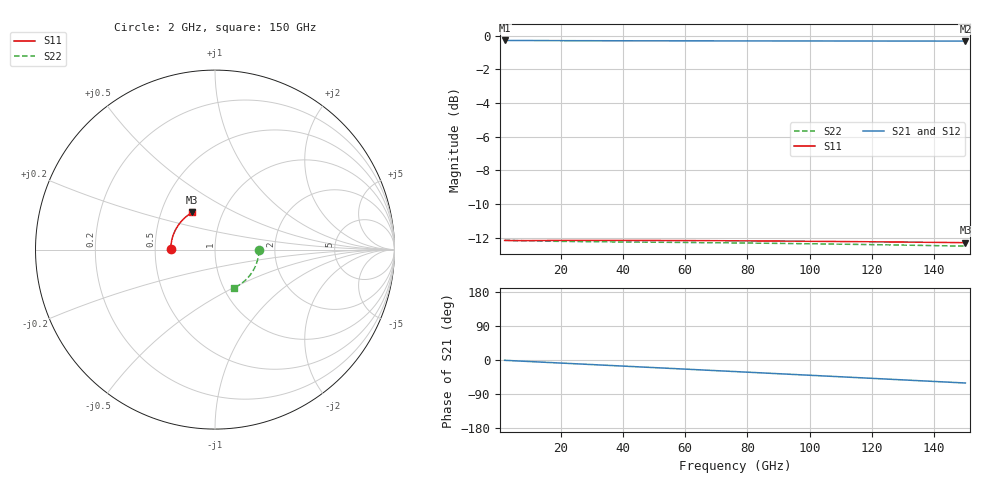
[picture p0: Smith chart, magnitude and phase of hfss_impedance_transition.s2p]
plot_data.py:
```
import numpy as np
import matplotlib.pyplot as plt
import skrf as rf

def S2T(S):
    T = S.copy()
    T[0,0] = -(S[0,0]*S[1,1]-S[0,1]*S[1,0])
    T[0,1] = S[0,0]
    T[1,0] = -S[1,1]
    T[1,1] = 1
    
    return T/S[1,0]

def T2S(T):
    S = T.copy()
    S[0,0] = T[0,1]
    S[0,1] = T[0,0]*T[1,1]-T[0,1]*T[1,0]
    S[1,0] = 1
    S[1,1] = -T[1,0]
    
    return S/T[1,1]

if __name__=='__main__':
    
    ntwk = rf.Network('hfss_impedance_transition.s2p')
    gamma1 = ntwk.gamma[:,0]
    gamma2 = ntwk.gamma[:,1]
    f = ntwk.frequency.f
    
    T     = np.array([S2T(x) for x in ntwk.s])
    Tnorm = np.array([x/x[-1,-1] for x in T])
    
    g11 = np.array([x[0,0] for x in Tnorm])
    g21 = np.array([x[1,0] for x in Tnorm])
    g12 = np.array([x[0,1] for x in Tnorm])
    
    d1  = 0.103e-3
    d2  = 0.103e-3
    
    exp1 = np.exp(2*gamma1*d1)
    exp2 = np.exp(2*gamma2*d2)
    g11_ = g11*exp1*exp2
    g21_ = g21*exp2
    g12_ = g12*exp1

    # model 1: Y-Z
    G1 = ( (g11_ + g21_ + g12_ + 1)**2 - 4*(g11_ - g21_*g12_) )/( (g11_ + g21_ + g12_ + 1)**2 + 4*(g11_ - g21_*g12_) )
    # model 2: Z-Y
    G2 = -( (g11_ - g21_ - g12_ + 1)**2 - 4*(g11_ - g21_*g12_) )/( (g11_ - g21_ - g12_ + 1)**2 + 4*(g11_ - g21_*g12_) )
    # model 3: symmetric
    G3 = ( g21_ + g12_ )/( g11_ + 1 )
    
    # offset error versions
    exp1 = np.exp(2*gamma1*(d1+0.0e-3))
    exp2 = np.exp(2*gamma2*(d2+0.03e-3))
    g11_ = g11*exp1*exp2
    g21_ = g21*exp2
    g12_ = g12*exp1
    
    # model 1: Y-Z
    G1_off = ( (g11_ + g21_ + g12_ + 1)**2 - 4*(g11_ - g21_*g12_) )/( (g11_ + g21_ + g12_ + 1)**2 + 4*(g11_ - g21_*g12_) )
    # model 2: Z-Y
    G2_off = -( (g11_ - g21_ - g12_ + 1)**2 - 4*(g11_ - g21_*g12_) )/( (g11_ - g21_ - g12_ + 1)**2 + 4*(g11_ - g21_*g12_) )
    # model 3: symmetric
    G3_off = ( g21_ + g12_ )/( g11_ + 1 )
    
    fig, ax = plt.subplots(1,1, figsize=(5.5, 5.5/1.5))
    fig.set_dpi(600)
    fig.tight_layout(pad=1.2)
    ax.plot(f*1e-9, abs(G1), '>-', lw=2, label='Model 1', markevery=10, markersize=8)
    ax.plot(f*1e-9, abs(G2), '<-', lw=2, label='Model 2', markevery=10, markersize=8)
    ax.plot(f*1e-9, abs(G3), '^-', lw=2, label='Model 3', markevery=10, markersize=8)
    ax.plot(f*1e-9, abs(G1_off), 's--', lw=2, markevery=10, markersize=8,
             label='Model 1 with +30um offset error')
    ax.plot(f*1e-9, abs(G2_off), 'o--', lw=2, markevery=10, markersize=8,
             label='Model 2 with +30um offset error')
    ax.plot(f*1e-9, abs(G3_off), 'v--', lw=2, markevery=10, markersize=8,
             label='Model 3 with +30um offset error')
    ax.set_xlabel('Frequency (GHz)')
    ax.set_ylabel('Reflection coefficient (mag)')
    plt.legend(ncol=2)
    ax.set_ylim([0.22, 0.26])
    ax.set_yticks(0.22 + np.arange(5)*0.01)
    ax.set_xlim([0, 150])
    ax.set_xticks(np.arange(6)*30)
    fig.savefig('simulated_transition.pdf', format='pdf', dpi=300, 
                    bbox_inches='tight', pad_inches = 0)
    
    g11 = g11_
    g21 = g21_
    g12 = g12_
    
    # model 1
    y1 = (-g11 + g21 - g12 + 1)/(g11 + g21 + g12 + 1)
    z1 = ((g12 + 1)**2 - (g11 + g21)**2)/(g11 - g21*g12)/4

    # model 2
    y2 = ((g12 - 1)**2 - (g11 - g21)**2)/(g11 - g21*g12)/4 
    z2 = (-g11 - g21 + g12 + 1)/(g11 - g21 - g12 + 1)

    # model 3
    tt = (g11 - g21*g12)*( (g11 +1)**2 - (g21 + g12)**2 )/(g11 - g21*g12 - g21**2 + 1)**2
    r  = (g12 - g11*g21)/(g11 - g21*g12 - g21**2 + 1)
    
    plt.figure()
    plt.plot(y1.imag)
    plt.plot(y2.imag)
    
    plt.figure()
    plt.plot(tt.imag)
    #plt.plot(r.imag)
    
    plt.show()

# EOF
```
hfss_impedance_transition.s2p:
! Touchstone file exported from HFSS 2021.1.0
!  File:  C:/Users/Ziad/Desktop/TMTT HFSS/mTRL_verification.aedt
!  Generated:  1:50:01 AM  Aug 09, 2022
!  Design:  impedance_transition
!  Project:  mTRL_verification
!  Setup:  Setup1
!  Solution:  Sweep
! Variables:
!  $e_r = 1.73929
!  $er = 3.2
!  $tand = 0.002
!  match_width = 0.094mm
!  port_height = 0.946mm
!  sig_length = 0.1mm
!  step_width = 0.2086mm
!  sub_length = 0.2mm
!  sub_thickness = 0.0473mm
!  sub_width = 4mm
!  trace_thickness = 0.0126mm
!Data is not renormalized
# GHz S MA
! Terminal data exported
! Port[1] = 1
! Port[2] = 2
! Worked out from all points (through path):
!   75 points, 2 GHz to 150 GHz, reference per port
!   highest |S21| = -0.27 dB at 2 GHz (marker M1); lowest = -0.3 dB at 150 GHz (marker M2)
!   group delay of S21, straight-line fit = 1.12 ps
!   lowest |S11| = -12.3 dB at 150 GHz (marker M3), VSWR 1.64
!   |S11| at or under -10 dB: start of sweep to end of sweep
!   |S22| runs from -12.5 to -12.2 dB; largest |S21 - S12| = 2e-15
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2  0.2465 179.1  0.9689 -0.8  0.9689 -0.8  0.2466 -0.9
! Gamma 1.04593504210781 66.6700791383097 1.0407309288705 69.19133680759
! Port Impedance 54.027272504092 -0.6926065302966 32.4537496486569 -0.405757419989088
10  0.2462 176.2  0.9685 -4.0  0.9685 -4.0  0.2458 -4.4
20  0.2464 172.3  0.9677 -8.0  0.9677 -8.0  0.2449 -8.5
38  0.2465 165.3  0.9669 -15.2  0.9669 -15.2  0.2439 -15.9
56  0.2463 158.3  0.9664 -22.5  0.9664 -22.5  0.2432 -23.4
66  0.2461 154.4  0.9662 -26.5  0.9662 -26.5  0.2427 -27.5
76  0.2458 150.5  0.966 -30.5  0.966 -30.5  0.2423 -31.7
94  0.2452 143.5  0.9657 -37.8  0.9657 -37.8  0.2413 -39.3
112  0.2445 136.4  0.9654 -45.1  0.9654 -45.1  0.24 -47.0
132  0.2436 128.6  0.965 -53.3  0.965 -53.3  0.2385 -55.5
150  0.2427 121.4  0.9647 -60.7  0.9647 -60.7  0.2369 -63.2
